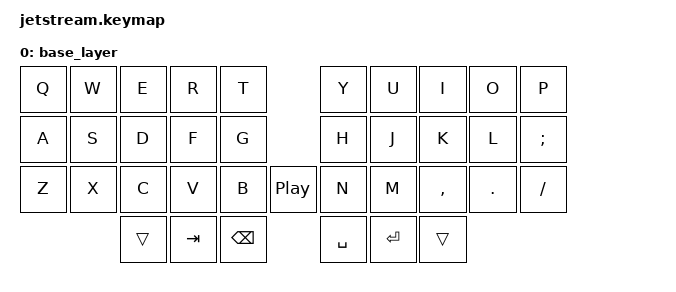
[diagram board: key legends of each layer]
/*
 * Copyright (c) 2024 The ZMK Contributors
 *
 * SPDX-License-Identifier: MIT
 */

#include <behaviors.dtsi>
#include <dt-bindings/zmk/keys.h>

/ {

    keymap {
        compatible = "zmk,keymap";

        // This is a sample keymap intended to be replaced with your own
        base_layer {
            bindings = <
                &kp Q     &kp W     &kp E     &kp R     &kp T                               &kp Y     &kp U     &kp I     &kp O     &kp P
                &kp A     &kp S     &kp D     &kp F     &kp G                               &kp H     &kp J     &kp K     &kp L     &kp SEMI
                &kp Z     &kp X     &kp C     &kp V     &kp B       &kp C_PLAY_PAUSE        &kp N     &kp M     &kp COMMA &kp DOT   &kp SLASH
                                         &trans    &kp TAB   &kp BSPC                  &kp SPACE &kp ENTER  &trans
            >;
        };

    };
};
